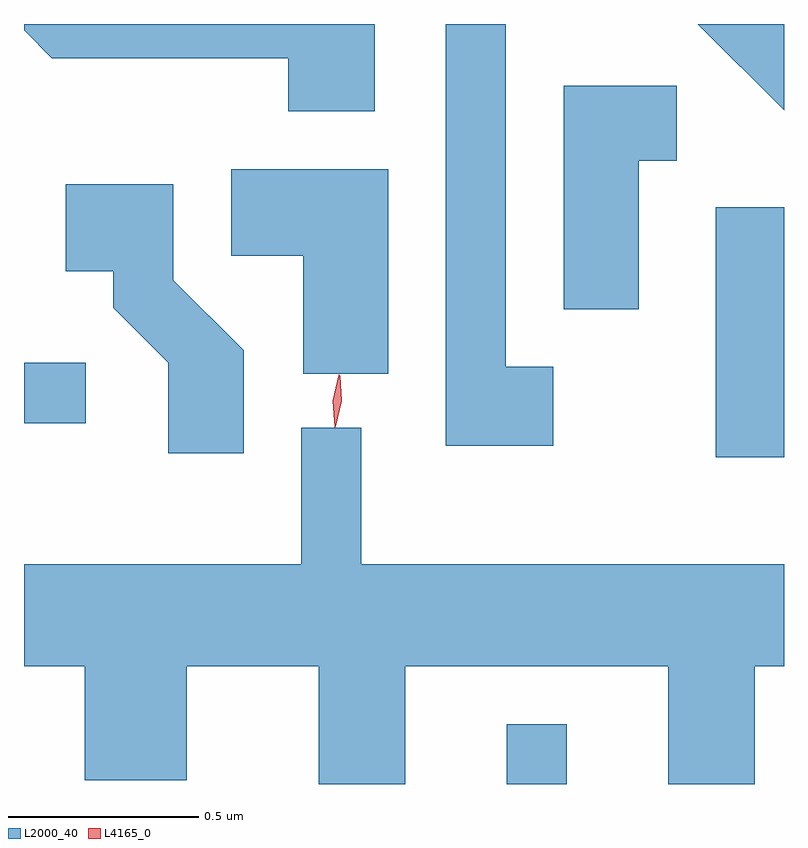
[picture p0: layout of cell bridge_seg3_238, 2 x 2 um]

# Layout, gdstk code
import gdstk
lib = gdstk.Library(unit=1e-6, precision=1e-09)
def R(c, l, rs):  # rectangles x0, y0, x1, y1
    for r in rs: c.add(gdstk.rectangle(r[:2], r[2:], *l))
def P(c, l, *ps):  # polygons
    for p in ps: c.add(gdstk.Polygon(p, *l))
L2000_40 = (2000, 40)
L4165_0 = (4165, 0)

bridge_seg3_238 = lib.new_cell('bridge_seg3_238')
R(bridge_seg3_238, L2000_40, [(955.446,1121.266,955.604,1121.423), (955.996,1122.126,956.176,1122.784), (954.176,1122.216,954.338,1122.374)])
P(bridge_seg3_238, L2000_40, [(955.099,1123.266),(954.176,1123.266),(954.176,1123.249),(954.249,1123.176),(954.871,1123.176),(954.871,1123.036),(955.099,1123.036)],
  [(955.569,1122.364),(955.444,1122.364),(955.444,1123.266),(955.286,1123.266),(955.286,1122.156),(955.569,1122.156)],
  [(956.176,1123.265),(956.175,1123.266),(955.949,1123.266),(956.176,1123.039)],
  [(955.794,1122.906),(955.894,1122.906),(955.894,1123.104),(955.596,1123.104),(955.596,1122.516),(955.794,1122.516)],
  [(955.134,1122.884),(954.721,1122.884),(954.721,1122.656),(954.911,1122.656),(954.911,1122.346),(955.134,1122.346)],
  [(954.754,1122.407),(954.569,1122.592),(954.569,1122.844),(954.286,1122.844),(954.286,1122.616),(954.411,1122.616),(954.411,1122.519),(954.556,1122.374),(954.556,1122.136),(954.754,1122.136)],
  [(955.179,1121.576),(955.871,1121.576),(955.871,1121.266),(956.099,1121.266),(956.099,1121.576),(956.176,1121.576),(956.176,1121.844),(955.064,1121.844),(955.064,1122.203),(954.906,1122.203),(954.906,1121.844),(954.176,1121.844),(954.176,1121.576),(954.336,1121.576),(954.336,1121.276),(954.604,1121.276),(954.604,1121.576),(954.951,1121.576),(954.951,1121.266),(955.179,1121.266)])
P(bridge_seg3_238, L4165_0, [(954.996,1122.208),(954.996,1122.208),(954.992,1122.275),(955.007,1122.34),(955.007,1122.34),(955.008,1122.34),(955.012,1122.274),(954.997,1122.208)],
  [(954.994,1122.205),(954.994,1122.205),(954.989,1122.275),(955.004,1122.343),(955.004,1122.343),(955.005,1122.343),(955.009,1122.273),(954.995,1122.205)])

lib.write_gds('bridge_seg3_238.gds')
